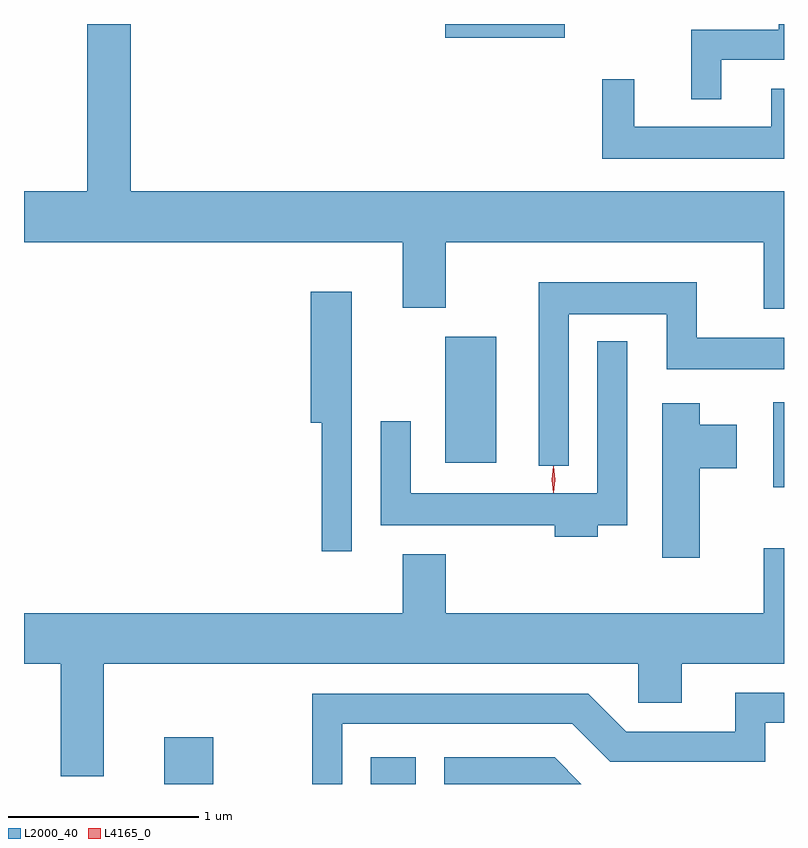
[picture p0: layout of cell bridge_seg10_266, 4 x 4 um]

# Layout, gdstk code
import gdstk
lib = gdstk.Library(unit=1e-6, precision=1e-09)
def R(c, l, rs):  # rectangles x0, y0, x1, y1
    for r in rs: c.add(gdstk.rectangle(r[:2], r[2:], *l))
def P(c, l, *ps):  # polygons
    for p in ps: c.add(gdstk.Polygon(p, *l))
L2000_40 = (2000, 40)
L4165_0 = (4165, 0)

bridge_seg10_266 = lib.new_cell('bridge_seg10_266')
R(bridge_seg10_266, L2000_40, [(1425.906,2208.744,1426.164,2208.989), (1426.993,2208.744,1427.229,2208.884), (1429.111,2210.306,1429.168,2210.754), (1427.386,2210.436,1427.654,2211.099), (1427.386,2212.671,1428.014,2212.744)])
P(bridge_seg10_266, L2000_40, [(1428.839,2212.556),(1429.168,2212.556),(1429.168,2212.744),(1429.141,2212.744),(1429.141,2212.714),(1428.681,2212.714),(1428.681,2212.348),(1428.839,2212.348)],
  [(1429.168,2211.864),(1425.729,2211.864),(1425.729,2212.744),(1425.501,2212.744),(1425.501,2211.864),(1425.168,2211.864),(1425.168,2211.596),(1427.161,2211.596),(1427.161,2211.251),(1427.389,2211.251),(1427.389,2211.596),(1429.061,2211.596),(1429.061,2211.246),(1429.168,2211.246)],
  [(1429.168,2212.404),(1429.101,2212.404),(1429.101,2212.204),(1428.379,2212.204),(1428.379,2212.453),(1428.211,2212.453),(1428.211,2212.036),(1429.168,2212.036)],
  [(1428.034,2211.216),(1428.551,2211.216),(1428.551,2210.926),(1429.168,2210.926),(1429.168,2211.094),(1428.709,2211.094),(1428.709,2211.384),(1427.876,2211.384),(1427.876,2210.418),(1428.034,2210.418)],
  [(1426.894,2211.334),(1426.676,2211.334),(1426.676,2210.646),(1426.736,2210.646),(1426.736,2209.968),(1426.894,2209.968)],
  [(1428.189,2210.106),(1428.344,2210.106),(1428.344,2211.073),(1428.186,2211.073),(1428.186,2210.274),(1427.204,2210.274),(1427.204,2210.653),(1427.046,2210.653),(1427.046,2210.106),(1427.961,2210.106),(1427.961,2210.046),(1428.189,2210.046)],
  [(1428.724,2210.406),(1428.919,2210.406),(1428.919,2210.634),(1428.724,2210.634),(1428.724,2210.749),(1428.526,2210.749),(1428.526,2209.936),(1428.724,2209.936)],
  [(1425.589,2209.376),(1428.401,2209.376),(1428.401,2209.171),(1428.629,2209.171),(1428.629,2209.376),(1429.168,2209.376),(1429.168,2209.984),(1429.061,2209.984),(1429.061,2209.644),(1427.389,2209.644),(1427.389,2209.954),(1427.161,2209.954),(1427.161,2209.644),(1425.168,2209.644),(1425.168,2209.376),(1425.361,2209.376),(1425.361,2208.786),(1425.589,2208.786)],
  [(1426.844,2209.061),(1428.054,2209.061),(1428.254,2208.861),(1429.069,2208.861),(1429.069,2209.066),(1429.168,2209.066),(1429.168,2209.224),(1428.911,2209.224),(1428.911,2209.019),(1428.337,2209.019),(1428.137,2209.219),(1426.686,2209.219),(1426.686,2208.744),(1426.844,2208.744)],
  [(1427.962,2208.884),(1427.381,2208.884),(1427.381,2208.744),(1428.102,2208.744)])
P(bridge_seg10_266, L4165_0, [(1427.955,2210.277),(1427.954,2210.278),(1427.945,2210.346),(1427.954,2210.416),(1427.955,2210.416),(1427.955,2210.416),(1427.965,2210.346),(1427.955,2210.278)])

lib.write_gds('bridge_seg10_266.gds')
